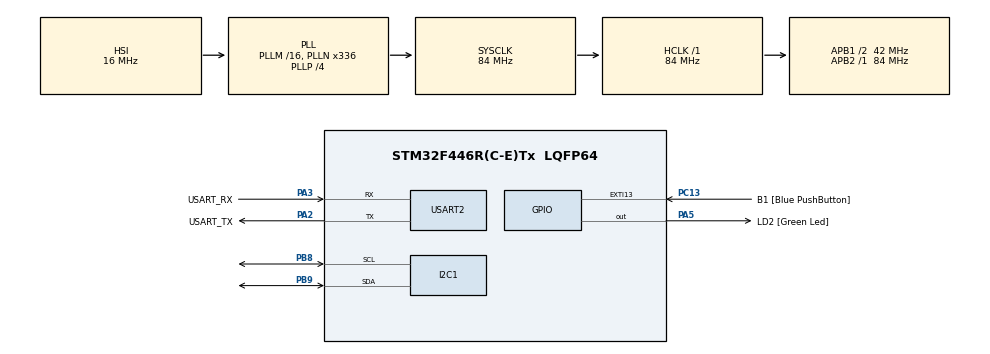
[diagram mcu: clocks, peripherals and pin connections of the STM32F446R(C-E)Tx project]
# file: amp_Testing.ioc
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Mcu.Family=STM32F4
Mcu.Name=STM32F446R(C-E)Tx
Mcu.Package=LQFP64
NVIC.PriorityGroup=NVIC_PRIORITYGROUP_0
PA13.GPIO_Label=TMS
PA13.Mode=Serial_Wire
PA13.Signal=SYS_JTMS-SWDIO
PA14.GPIO_Label=TCK
PA14.Mode=Serial_Wire
PA14.Signal=SYS_JTCK-SWCLK
PA2.GPIO_Label=USART_TX
PA2.Mode=Asynchronous
PA2.Signal=USART2_TX
PA3.GPIO_Label=USART_RX
PA3.Mode=Asynchronous
PA3.Signal=USART2_RX
PA5.GPIO_Label=LD2 [Green Led]
PA5.Signal=GPIO_Output
PB3.GPIO_Label=SWO
PB3.Signal=SYS_JTDO-SWO
PB8.GPIO_Pu=GPIO_PULLUP
PB8.Mode=I2C
PB8.Signal=I2C1_SCL
PB9.GPIO_Pu=GPIO_PULLUP
PB9.Mode=I2C
PB9.Signal=I2C1_SDA
PC13.GPIO_Label=B1 [Blue PushButton]
PC13.GPIO_ModeDefaultEXTI=GPIO_MODE_IT_FALLING
PC13.Signal=GPXTI13
PC14-OSC32_IN.Mode=LSE-External-Oscillator
PC14-OSC32_IN.Signal=RCC_OSC32_IN
PC15-OSC32_OUT.Mode=LSE-External-Oscillator
PC15-OSC32_OUT.Signal=RCC_OSC32_OUT
PH0-OSC_IN.Mode=HSE-External-Oscillator
PH0-OSC_IN.Signal=RCC_OSC_IN
PH1-OSC_OUT.Mode=HSE-External-Oscillator
PH1-OSC_OUT.Signal=RCC_OSC_OUT
ProjectManager.HeapSize=0x200
ProjectManager.StackSize=0x400
ProjectManager.TargetToolchain=STM32CubeIDE
RCC.48MHZClocksFreq_Value=84000000
RCC.AHBFreq_Value=84000000
RCC.APB1CLKDivider=RCC_HCLK_DIV2
RCC.APB1Freq_Value=42000000
RCC.APB1TimFreq_Value=84000000
RCC.APB2Freq_Value=84000000
RCC.APB2TimFreq_Value=84000000
RCC.CortexFreq_Value=84000000
RCC.FLatency-AdvancedSettings=FLASH_LATENCY_2
RCC.HCLKFreq_Value=84000000
RCC.HSE_VALUE=8000000
RCC.HSI_VALUE=16000000
RCC.PLLN=336
RCC.PLLP=RCC_PLLP_DIV4
RCC.SYSCLKFreq_VALUE=84000000
RCC.SYSCLKSource=RCC_SYSCLKSOURCE_PLLCLK
RCC.USBFreq_Value=168000000
RCC.VCOOutputFreq_Value=336000000
USART2.VirtualMode=VM_ASYNC
VP_WWDG_VS_WWDG.Mode=WWDG_Activate
board=NUCLEO-F446RE

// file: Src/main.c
/* USER CODE BEGIN Header */
/**
  ******************************************************************************
  * @file           : main.c
  * @brief          : Main program body
  ******************************************************************************
  ** This notice applies to any and all portions of this file
  * that are not between comment pairs USER CODE BEGIN and
  * USER CODE END. Other portions of this file, whether
  * inserted by the user or by software development tools
  * are owned by their respective copyright owners.
  *
  * COPYRIGHT(c) 2019 STMicroelectronics
  *
  * Redistribution and use in source and binary forms, with or without modification,
  * are permitted provided that the following conditions are met:
  *   1. Redistributions of source code must retain the above copyright notice,
  *      this list of conditions and the following disclaimer.
  *   2. Redistributions in binary form must reproduce the above copyright notice,
  *      this list of conditions and the following disclaimer in the documentation
  *      and/or other materials provided with the distribution.
  *   3. Neither the name of STMicroelectronics nor the names of its contributors
  *      may be used to endorse or promote products derived from this software
  *      without specific prior written permission.
  *
  * THIS SOFTWARE IS PROVIDED BY THE COPYRIGHT HOLDERS AND CONTRIBUTORS "AS IS"
  * AND ANY EXPRESS OR IMPLIED WARRANTIES, INCLUDING, BUT NOT LIMITED TO, THE
  * IMPLIED WARRANTIES OF MERCHANTABILITY AND FITNESS FOR A PARTICULAR PURPOSE ARE
  * DISCLAIMED. IN NO EVENT SHALL THE COPYRIGHT HOLDER OR CONTRIBUTORS BE LIABLE
  * FOR ANY DIRECT, INDIRECT, INCIDENTAL, SPECIAL, EXEMPLARY, OR CONSEQUENTIAL
  * DAMAGES (INCLUDING, BUT NOT LIMITED TO, PROCUREMENT OF SUBSTITUTE GOODS OR
  * SERVICES; LOSS OF USE, DATA, OR PROFITS; OR BUSINESS INTERRUPTION) HOWEVER
  * CAUSED AND ON ANY THEORY OF LIABILITY, WHETHER IN CONTRACT, STRICT LIABILITY,
  * OR TORT (INCLUDING NEGLIGENCE OR OTHERWISE) ARISING IN ANY WAY OUT OF THE USE
  * OF THIS SOFTWARE, EVEN IF ADVISED OF THE POSSIBILITY OF SUCH DAMAGE.
  *
  ******************************************************************************
  */
/* USER CODE END Header */
#include "main.h"
#include "i2c.h"
#include "usart.h"
#include "wwdg.h"
#include "gpio.h"

/* USER CODE BEGIN PD */
#define AMP_SLAVE_ADDRESS (0x48 << 1)
#define DATA_REG 0x00
#define CONFIG_REG 0x01
/* USER CODE END PD */

void SystemClock_Config(void);

int main(void)
{
  /* USER CODE BEGIN 1 */

  const float RESISIT = 200e-6; //shunt resisitance
  //const float RESISIT = 1; // Uncomment this if u want see the voltage instead of current.
  //It's just ohms law, if u don't understand, take ECE1450

  /*Change this to correct FSR after u modifed config_data[0], I wrote the correspond
   * FSR in the comment below. Be sma rt and read*/
  const float V_FS = (1.024 * 2); //full scale voltage of ADC

  const float MAX_ADC_BIN_VAL = 0x7fff; //number of ADC bits
  /* USER CODE END 1 */

  /* MCU Configuration--------------------------------------------------------*/

  /* Reset of all peripherals, Initializes the Flash interface and the Systick. */
  HAL_Init();

  /* Configure the system clock */
  SystemClock_Config();

  /* Initialize all configured peripherals */
  MX_GPIO_Init();
  MX_USART2_UART_Init();
  MX_I2C1_Init();
  /* USER CODE BEGIN 2 */
//  HAL_UART_Transmit(&huart2, "Init Complete", strlen("Init Complete"), 1000);
  uint8_t config_data[2], data[3];
  config_data[0] = 0x06;
  config_data[1] = 0x83;

  /******Read here
   * config_data[0] = 0x06;   FSR = 1.024 v
  config_data[0] = 0x08;	 FSR = 0.512 v
  config_data[0] = 0x0A;	 FSR = 0.256 v
  config_data[0] = 0x0C;	FSR = 0.256 v
  config_data[0] = 0x0E;	FSR = 0.256 v
  */
  //Configure Sensor

  HAL_I2C_Mem_Write(&hi2c1,AMP_SLAVE_ADDRESS,CONFIG_REG,1,config_data,2,10);

  /* USER CODE END 2 */

  /* Infinite loop */
  /* USER CODE BEGIN WHILE */
  uint16_t value = 0x0000;
  float current = 0;
  char out[50];
  char title[50];
  //int code;
  sprintf(title,"Reset\n\r");
//  HAL_UART_Transmit(&huart2, (uint8_t *)title, strlen(title), 1000);

  MX_WWDG_Init();
  while (1)
  {
	  int code = HAL_I2C_Mem_Read(&hi2c1,AMP_SLAVE_ADDRESS,DATA_REG,1,&data[0],2,10000);
	  if (code == HAL_OK){
		value = data[0];
		value <<= 8;
		value &= 0xFF00;
		value |= data[1];
		current = ((float)value) / MAX_ADC_BIN_VAL * V_FS / RESISIT;

		sprintf(out,"%f\n\r",current);

//		HAL_UART_Transmit(&huart2, "TEST", strlen("TEST"), 1000);
		if(current < 3000) HAL_UART_Transmit(&huart2, (uint8_t *)out, strlen(out), 10);
		HAL_WWDG_Refresh(&hwwdg);

	  }
	  else{
		sprintf(out,"Error: %d\n\r",code);
		HAL_UART_Transmit(&huart2, out, strlen(out), 100);
	  }
    /* USER CODE END WHILE */

  }
}

void SystemClock_Config(void)
{
  RCC_OscInitTypeDef RCC_OscInitStruct = {0};
  RCC_ClkInitTypeDef RCC_ClkInitStruct = {0};

  /** Configure the main internal regulator output voltage
  */
  __HAL_RCC_PWR_CLK_ENABLE();
  __HAL_PWR_VOLTAGESCALING_CONFIG(PWR_REGULATOR_VOLTAGE_SCALE3);

  /** Initializes the RCC Oscillators according to the specified parameters
  * in the RCC_OscInitTypeDef structure.
  */
  RCC_OscInitStruct.OscillatorType = RCC_OSCILLATORTYPE_HSI;
  RCC_OscInitStruct.HSIState = RCC_HSI_ON;
  RCC_OscInitStruct.HSICalibrationValue = RCC_HSICALIBRATION_DEFAULT;
  RCC_OscInitStruct.PLL.PLLState = RCC_PLL_ON;
  RCC_OscInitStruct.PLL.PLLSource = RCC_PLLSOURCE_HSI;
  RCC_OscInitStruct.PLL.PLLM = 16;
  RCC_OscInitStruct.PLL.PLLN = 336;
  RCC_OscInitStruct.PLL.PLLP = RCC_PLLP_DIV4;
  RCC_OscInitStruct.PLL.PLLQ = 2;
  RCC_OscInitStruct.PLL.PLLR = 2;
  if (HAL_RCC_OscConfig(&RCC_OscInitStruct) != HAL_OK)
  {
    Error_Handler();
  }

  /** Initializes the CPU, AHB and APB buses clocks
  */
  RCC_ClkInitStruct.ClockType = RCC_CLOCKTYPE_HCLK|RCC_CLOCKTYPE_SYSCLK
                              |RCC_CLOCKTYPE_PCLK1|RCC_CLOCKTYPE_PCLK2;
  RCC_ClkInitStruct.SYSCLKSource = RCC_SYSCLKSOURCE_PLLCLK;
  RCC_ClkInitStruct.AHBCLKDivider = RCC_SYSCLK_DIV1;
  RCC_ClkInitStruct.APB1CLKDivider = RCC_HCLK_DIV2;
  RCC_ClkInitStruct.APB2CLKDivider = RCC_HCLK_DIV1;

  if (HAL_RCC_ClockConfig(&RCC_ClkInitStruct, FLASH_LATENCY_2) != HAL_OK)
  {
    Error_Handler();
  }
}

void Error_Handler(void)
{
}
